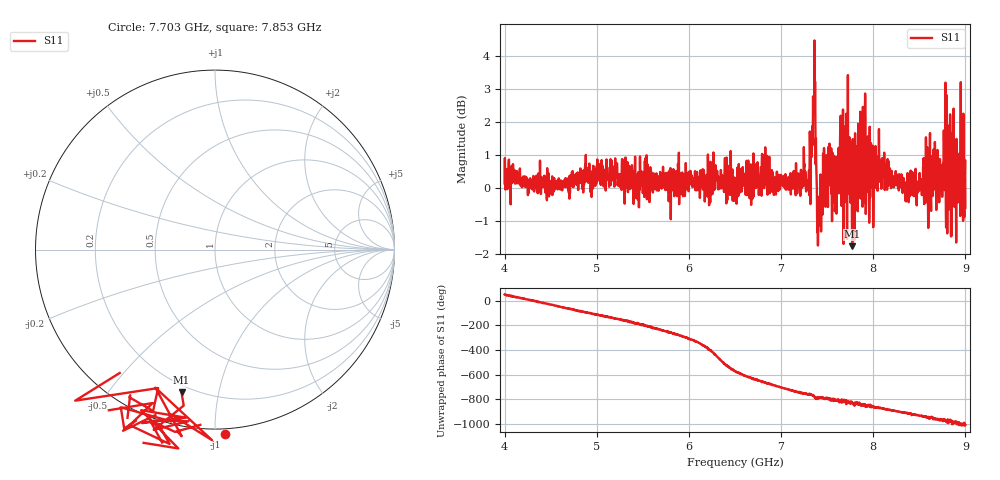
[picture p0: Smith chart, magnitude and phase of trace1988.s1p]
! Created with skrf 1.8.0 (http://scikit-rf.org).
# Hz S RI R 50.0
!freq ReS11 ImS11
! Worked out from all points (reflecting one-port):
!   1601 points, 4 GHz to 9 GHz, reference 50 ohm
!   lowest |S11| = -1.8 dB at 7.772 GHz (marker M1), VSWR 9.92, Z = 8.15 - j39 ohm
!   phase of S11 starts at 49 deg and turns -1058 deg over the sweep
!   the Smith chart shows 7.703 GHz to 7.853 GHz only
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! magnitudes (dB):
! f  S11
! 4 GHz  0.1
! 4.625 GHz  -0.1
! 5.25 GHz  0.0
! 5.875 GHz  0.1
! 6.5 GHz  0.1
! 6.819 GHz  0.6
! 7.125 GHz  0.2
! 7.294 GHz  0.2
! 7.347 GHz  2.8
! 7.366 GHz  2.4
! 7.397 GHz  -1.0
! 7.412 GHz  -0.8
! 7.466 GHz  1.2
! 7.588 GHz  -0.4
! 7.647 GHz  2.2
! 7.75 GHz  -0.1
! 7.772 GHz  -1.8
! 7.834 GHz  0.6
! 7.928 GHz  1.2
! 7.981 GHz  0.0
! 8.375 GHz  -0.1
! 8.612 GHz  0.9
! 8.656 GHz  1.2
! 8.728 GHz  0.5
! 8.816 GHz  -0.7
! 8.875 GHz  0.2
! 8.972 GHz  0.9
! 9 GHz  -0.6
